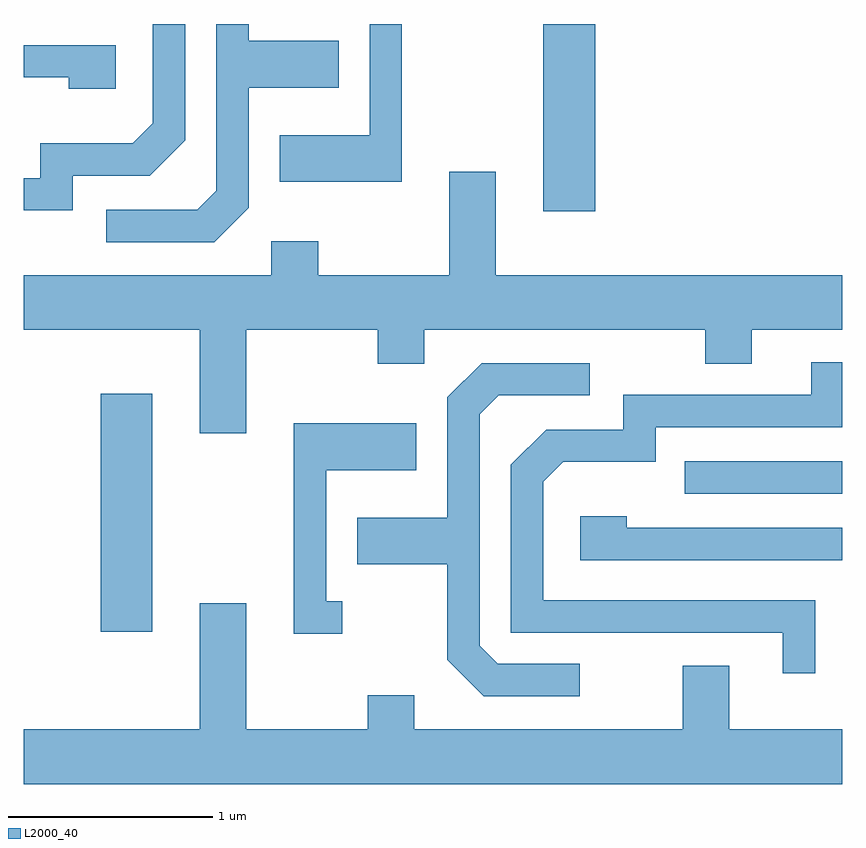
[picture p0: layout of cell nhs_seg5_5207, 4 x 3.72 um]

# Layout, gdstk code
import gdstk
lib = gdstk.Library(unit=1e-6, precision=1e-09)
def R(c, l, rs):  # rectangles x0, y0, x1, y1
    for r in rs: c.add(gdstk.rectangle(r[:2], r[2:], *l))
def P(c, l, *ps):  # polygons
    for p in ps: c.add(gdstk.Polygon(p, *l))
L2000_40 = (2000, 40)

nhs_seg5_5207 = lib.new_cell('nhs_seg5_5207')
R(nhs_seg5_5207, L2000_40, [(339.986,1453.101,340.239,1454.264), (342.843,1453.776,343.611,1453.934), (342.151,1455.156,342.404,1456.072)])
P(nhs_seg5_5207, L2000_40, [(341.459,1456.072),(341.301,1456.072),(341.301,1455.529),(340.861,1455.529),(340.861,1455.301),(341.459,1455.301)],
  [(340.709,1455.174),(340.709,1455.761),(341.149,1455.761),(341.149,1455.989),(340.709,1455.989),(340.709,1456.072),(340.551,1456.072),(340.551,1455.257),(340.459,1455.164),(340.013,1455.164),(340.013,1455.006),(340.542,1455.006)],
  [(339.849,1455.331),(340.227,1455.331),(340.399,1455.504),(340.399,1456.072),(340.241,1456.072),(340.241,1455.587),(340.144,1455.489),(339.691,1455.489),(339.691,1455.319),(339.611,1455.319),(339.611,1455.161),(339.849,1455.161)],
  [(340.059,1455.969),(339.611,1455.969),(339.611,1455.811),(339.831,1455.811),(339.831,1455.756),(340.059,1455.756)],
  [(340.699,1454.576),(341.341,1454.576),(341.341,1454.411),(341.569,1454.411),(341.569,1454.576),(342.941,1454.576),(342.941,1454.411),(343.169,1454.411),(343.169,1454.576),(343.611,1454.576),(343.611,1454.844),(341.919,1454.844),(341.919,1455.349),(341.691,1455.349),(341.691,1454.844),(341.049,1454.844),(341.049,1455.009),(340.821,1455.009),(340.821,1454.844),(339.611,1454.844),(339.611,1454.576),(340.471,1454.576),(340.471,1454.071),(340.699,1454.071)],
  [(343.479,1453.254),(342.149,1453.254),(342.149,1453.834),(342.247,1453.931),(342.699,1453.931),(342.699,1454.101),(343.611,1454.101),(343.611,1454.419),(343.461,1454.419),(343.461,1454.259),(342.541,1454.259),(342.541,1454.089),(342.164,1454.089),(341.991,1453.917),(341.991,1453.096),(343.321,1453.096),(343.321,1452.898),(343.479,1452.898)],
  [(342.328,1452.944),(341.927,1452.944),(341.839,1453.032),(341.839,1454.164),(341.932,1454.256),(342.378,1454.256),(342.378,1454.414),(341.849,1454.414),(341.681,1454.247),(341.681,1453.659),(341.241,1453.659),(341.241,1453.431),(341.681,1453.431),(341.681,1452.964),(341.859,1452.786),(342.328,1452.786)],
  [(341.168,1453.249),(341.089,1453.249),(341.089,1453.891),(341.529,1453.891),(341.529,1454.119),(340.931,1454.119),(340.931,1453.091),(341.168,1453.091)],
  [(343.611,1453.609),(342.559,1453.609),(342.559,1453.664),(342.331,1453.664),(342.331,1453.451),(343.611,1453.451)],
  [(343.611,1452.624),(343.059,1452.624),(343.059,1452.934),(342.831,1452.934),(342.831,1452.624),(341.519,1452.624),(341.519,1452.789),(341.291,1452.789),(341.291,1452.624),(340.699,1452.624),(340.699,1453.239),(340.471,1453.239),(340.471,1452.624),(339.611,1452.624),(339.611,1452.356),(343.611,1452.356)])

lib.write_gds('nhs_seg5_5207.gds')
